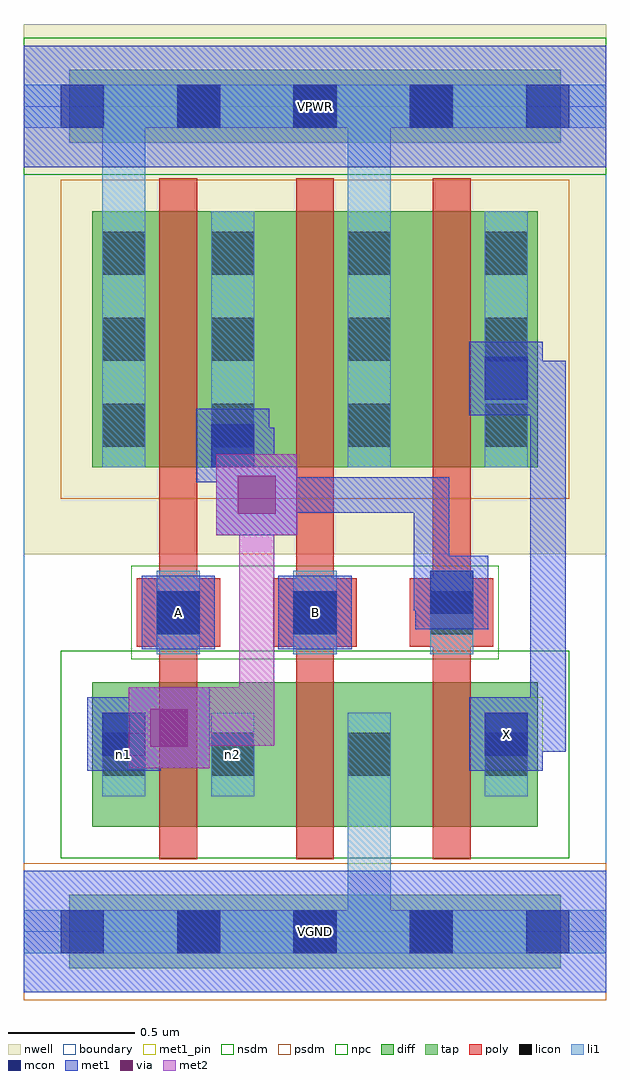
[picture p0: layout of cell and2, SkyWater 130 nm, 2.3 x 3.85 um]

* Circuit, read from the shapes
.subckt and2 A B VGND VPWR X n1 n2
XM1 n2 A n1 VGND sky130_fd_pr__nfet_01v8 w=0.57 l=0.15
XM2 VGND B n2 VGND sky130_fd_pr__nfet_01v8 w=0.57 l=0.15
XM3 X n1 VGND VGND sky130_fd_pr__nfet_01v8 w=0.57 l=0.15
XM4 n1 A VPWR VPWR sky130_fd_pr__pfet_01v8 w=1.01 l=0.15
XM5 VPWR B n1 VPWR sky130_fd_pr__pfet_01v8 w=1.01 l=0.15
XM6 X n1 VPWR VPWR sky130_fd_pr__pfet_01v8 w=1.01 l=0.15
.ends

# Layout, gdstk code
import gdstk
lib = gdstk.Library(unit=1e-6, precision=1e-09)
def R(c, l, rs):  # rectangles x0, y0, x1, y1
    for r in rs: c.add(gdstk.rectangle(r[:2], r[2:], *l))
def A(c, l, x, y, w, h, nx, ny, dx, dy):  # array of equal rectangles
    R(c, l, [(x+i*dx, y+j*dy, x+i*dx+w, y+j*dy+h) for i in range(nx) for j in range(ny)])
nwell = (64, 20)
diff = (65, 20)
tap = (65, 44)
poly = (66, 20)
licon = (66, 44)
li1 = (67, 20)
mcon = (67, 44)
met1_pin = (68, 16)
met1 = (68, 20)
via = (68, 44)
met2 = (69, 20)
nsdm = (93, 44)
psdm = (94, 20)
npc = (95, 20)
boundary = (235, 4)

and2 = lib.new_cell('and2')
R(and2, nwell, [(0,1.49,2.3,3.585)])
R(and2, diff, [(0.27,0.415,2.03,0.985), (0.27,1.835,2.03,2.845)])
R(and2, tap, [(0.18,-0.145,2.12,0.145), (0.18,3.115,2.12,3.405)])
A(and2, poly, 0.535, 0.285, 0.15, 2.69, 3, 1, 0.54, 0)
A(and2, poly, 0.445, 1.125, 0.33, 0.27, 3, 1, 0.54, 0)
A(and2, licon, 0.605, -0.085, 0.17, 0.17, 3, 2, 0.46, 3.26)
A(and2, licon, 0.74, 0.615, 0.17, 0.17, 3, 2, 0.54, 1.3)
A(and2, licon, 0.525, 1.175, 0.17, 0.17, 3, 1, 0.54, 0)
A(and2, licon, 0.31, 1.915, 0.17, 0.17, 1, 3, 0, 0.34)
A(and2, licon, 0.74, 2.255, 0.17, 0.17, 3, 2, 0.54, 0.34)
R(and2, licon, [(0.31,0.615,0.48,0.785)])
A(and2, li1, 0.74, 0.535, 0.17, 0.33, 3, 1, 0.54, 0)
A(and2, li1, 0.525, 1.095, 0.17, 0.33, 3, 1, 0.54, 0)
A(and2, li1, 0.74, 1.835, 0.17, 1.01, 3, 1, 0.54, 0)
R(and2, li1, [(0,-0.085,2.3,0.085), (1.28,-0.085,1.45,0.865), (0.31,0.535,0.48,0.865), (0.31,1.835,0.48,2.845), (0.31,1.835,0.48,3.345), (1.28,1.835,1.45,3.345), (0,3.175,2.3,3.345)])
A(and2, mcon, 0.145, -0.085, 0.17, 0.17, 5, 2, 0.46, 3.26)
R(and2, mcon, [(0.31,0.695,0.48,0.865), (1.82,0.695,1.99,0.865), (0.525,1.175,0.695,1.345), (1.065,1.175,1.235,1.345), (1.605,1.255,1.775,1.425), (0.74,1.835,0.91,2.005), (1.82,2.1,1.99,2.27)])
R(and2, met1_pin, [(0,-0.24,2.3,0.24), (1.76,0.635,2.05,0.925), (0.465,1.115,0.755,1.405), (1.005,1.115,1.295,1.405), (0,3.02,2.3,3.5)])
R(and2, met1, [(0,-0.24,2.3,0.24), (0.25,0.635,0.54,0.925), (1.76,0.635,2.05,0.925), (0.415,0.645,0.735,0.965), (0.325,0.71,0.645,0.85), (0.505,0.71,0.645,0.875), (1.835,0.71,2.14,0.85), (2,0.71,2.14,0.99), (2,0.85,2.14,2.255), (0.465,1.115,0.755,1.405), (1.005,1.115,1.295,1.405), (1.545,1.195,1.835,1.485), (1.54,1.27,1.76,1.41), (1.54,1.27,1.68,1.565), (1.54,1.425,1.68,1.795), (0.76,1.565,1.08,1.885), (0.85,1.655,0.99,1.99), (0.85,1.655,1.68,1.795), (0.68,1.775,0.97,2.065), (0.755,1.85,0.99,1.99), (1.76,2.04,2.05,2.33), (1.835,2.115,2.14,2.255), (0,3.02,2.3,3.5)])
R(and2, via, [(0.5,0.73,0.65,0.88), (0.845,1.65,0.995,1.8)])
R(and2, met2, [(0.415,0.645,0.735,0.965), (0.505,0.735,0.99,0.875), (0.735,0.735,0.85,0.965), (0.85,0.735,0.99,1.795), (0.76,1.565,1.08,1.885)])
R(and2, nsdm, [(0.145,0.29,2.155,1.11), (0,2.99,2.3,3.53)])
R(and2, psdm, [(0,-0.27,2.3,0.27), (0.145,1.71,2.155,2.97)])
R(and2, npc, [(0.425,1.075,1.875,1.445)])
R(and2, boundary, [(0,0,2.3,3.26)])
and2.add(gdstk.Label('n1', (0.395,0.7), layer=67, texttype=5))
and2.add(gdstk.Label('n2', (0.825,0.7), layer=67, texttype=5))
and2.add(gdstk.Label('A', (0.61,1.26), layer=68, texttype=5))
and2.add(gdstk.Label('B', (1.15,1.26), layer=68, texttype=5))
and2.add(gdstk.Label('X', (1.905,0.78), layer=68, texttype=5))
and2.add(gdstk.Label('VPWR', (1.15,3.26), layer=68, texttype=5))
and2.add(gdstk.Label('VGND', (1.15,0), layer=68, texttype=5))
and2.add(gdstk.Label('A', (0.61,1.26), layer=68, texttype=16))
and2.add(gdstk.Label('B', (1.15,1.26), layer=68, texttype=16))
and2.add(gdstk.Label('X', (1.905,0.78), layer=68, texttype=16))
and2.add(gdstk.Label('VPWR', (1.15,3.26), layer=68, texttype=16))
and2.add(gdstk.Label('VGND', (1.15,0), layer=68, texttype=16))

lib.write_gds('and2.gds')
